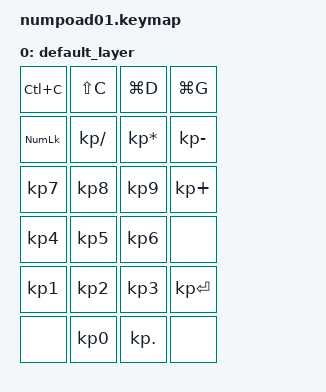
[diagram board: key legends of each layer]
#include <behaviors.dtsi>
#include <dt-bindings/zmk/keys.h>

/ {
    keymap {
        compatible = "zmk,keymap";

        default_layer {
            bindings = <

                /* Row 0 - Macros */
                &kp LC(C) &kp LS(C) &kp LG(D) &kp LG(G)

                /* Row 1 */
                &kp KP_NUMLOCK &kp KP_SLASH &kp KP_MULTIPLY &kp KP_MINUS

                /* Row 2 */
                &kp KP_7 &kp KP_8 &kp KP_9 &kp KP_PLUS

                /* Row 3 */
                &kp KP_4 &kp KP_5 &kp KP_6 &none

                /* Row 4 */
                &kp KP_1 &kp KP_2 &kp KP_3 &kp KP_ENTER

                /* Row 5 */
                &none &kp KP_0 &kp KP_DOT &none
            >;
        };
    };
};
